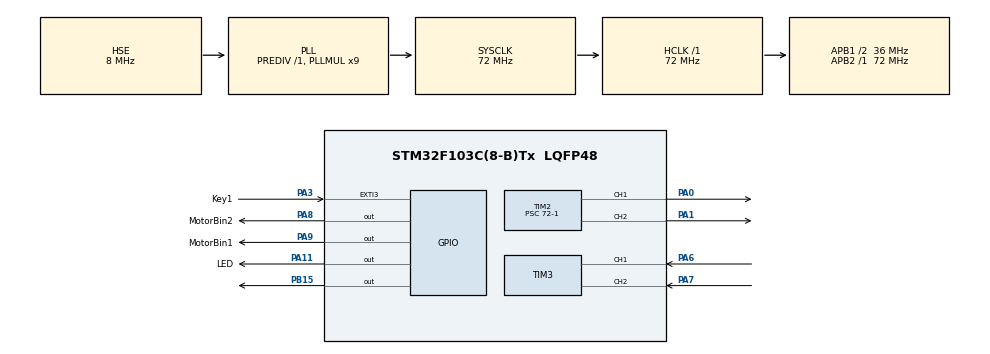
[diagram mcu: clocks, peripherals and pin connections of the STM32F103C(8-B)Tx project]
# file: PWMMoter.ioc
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Mcu.Family=STM32F1
Mcu.Name=STM32F103C(8-B)Tx
Mcu.Package=LQFP48
NVIC.EXTI3_IRQn=true\:15\:0\:true\:false\:true\:true\:true\:true
NVIC.PriorityGroup=NVIC_PRIORITYGROUP_4
NVIC.TIM4_IRQn=true\:0\:0\:false\:false\:true\:true\:true\:true
PA0-WKUP.Signal=S_TIM2_CH1_ETR
PA1.Signal=S_TIM2_CH2
PA11.GPIO_Label=LED
PA11.Signal=GPIO_Output
PA13.Mode=Serial_Wire
PA13.Signal=SYS_JTMS-SWDIO
PA14.Mode=Serial_Wire
PA14.Signal=SYS_JTCK-SWCLK
PA3.GPIO_Label=Key1
PA3.GPIO_ModeDefaultEXTI=GPIO_MODE_IT_FALLING
PA3.GPIO_PuPd=GPIO_PULLUP
PA3.Signal=GPXTI3
PA6.Signal=S_TIM3_CH1
PA7.Signal=S_TIM3_CH2
PA8.GPIO_Label=MotorBin2
PA8.PinState=GPIO_PIN_SET
PA8.Signal=GPIO_Output
PA9.GPIO_Label=MotorBin1
PA9.Signal=GPIO_Output
PB15.Signal=GPIO_Output
PD0-OSC_IN.Mode=HSE-External-Oscillator
PD0-OSC_IN.Signal=RCC_OSC_IN
PD1-OSC_OUT.Mode=HSE-External-Oscillator
PD1-OSC_OUT.Signal=RCC_OSC_OUT
ProjectManager.HeapSize=0x200
ProjectManager.StackSize=0x400
ProjectManager.TargetToolchain=STM32CubeIDE
RCC.AHBFreq_Value=72000000
RCC.APB1CLKDivider=RCC_HCLK_DIV2
RCC.APB1Freq_Value=36000000
RCC.APB1TimFreq_Value=72000000
RCC.APB2Freq_Value=72000000
RCC.APB2TimFreq_Value=72000000
RCC.HCLKFreq_Value=72000000
RCC.PLLMUL=RCC_PLL_MUL9
RCC.PLLSourceVirtual=RCC_PLLSOURCE_HSE
RCC.SYSCLKFreq_VALUE=72000000
RCC.SYSCLKSource=RCC_SYSCLKSOURCE_PLLCLK
RCC.USBFreq_Value=72000000
SH.S_TIM2_CH1_ETR.0=TIM2_CH1,PWM Generation1 CH1
SH.S_TIM2_CH2.0=TIM2_CH2,PWM Generation2 CH2
SH.S_TIM3_CH1.0=TIM3_CH1,Encoder_Interface
SH.S_TIM3_CH2.0=TIM3_CH2,Encoder_Interface
TIM2.Channel-PWM\ Generation1\ CH1=TIM_CHANNEL_1
TIM2.Channel-PWM\ Generation2\ CH2=TIM_CHANNEL_2
TIM2.Period=100-1
TIM2.Prescaler=72-1
TIM3.EncoderMode=TIM_ENCODERMODE_TI12
TIM3.IC1Filter=10
TIM3.IC1Polarity=TIM_ICPOLARITY_FALLING
TIM3.IC2Filter=10
TIM4.AutoReloadPreload=TIM_AUTORELOAD_PRELOAD_ENABLE
TIM4.Period=10000-1
TIM4.Prescaler=7200-1
VP_TIM2_VS_ClockSourceINT.Mode=Internal
VP_TIM4_VS_ClockSourceINT.Mode=Internal
board=custom

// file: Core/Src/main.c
/* USER CODE BEGIN Header */
/**
  ******************************************************************************
  * @file           : main.c
  * @brief          : Main program body
  ******************************************************************************
  * @attention
  *
  * Copyright (c) 2025 STMicroelectronics.
  * All rights reserved.
  *
  * This software is licensed under terms that can be found in the LICENSE file
  * in the root directory of this software component.
  * If no LICENSE file comes with this software, it is provided AS-IS.
  *
  ******************************************************************************
  */
/* USER CODE END Header */
#include "main.h"
#include "tim.h"
#include "gpio.h"

/* USER CODE BEGIN Includes */
#include "Motor.h"
#include "Encoder.h"
/* USER CODE END Includes */

/* USER CODE BEGIN PD */
#define GearRatio 30
#define EncoderPPR 13
/* USER CODE END PD */

/* USER CODE BEGIN PV */

volatile int32_t encoder_speed = 0;  // 全局、volatile、有意义的名字
volatile float motor_rps;
/* USER CODE END PV */

void SystemClock_Config(void);

/* USER CODE BEGIN 0 */
__weak void HAL_TIM_PeriodElapsedCallback(TIM_HandleTypeDef *htim){
	if(htim == &htim4){
		static short LastCount = 0;
		static short CurrentCount = 0;
		CurrentCount = EncoderRead();
		encoder_speed = (CurrentCount - LastCount);
		motor_rps = (float)encoder_speed / (GearRatio * EncoderPPR * 4);
		LastCount = CurrentCount;
	}
}

/* USER CODE END 0 */

int main(void)
{

  /* MCU Configuration--------------------------------------------------------*/

  /* Reset of all peripherals, Initializes the Flash interface and the Systick. */
  HAL_Init();

  /* Configure the system clock */
  SystemClock_Config();

  /* Initialize all configured peripherals */
  MX_GPIO_Init();
  MX_TIM2_Init();
  MX_TIM3_Init();
  MX_TIM4_Init();
  /* USER CODE BEGIN 2 */
  Motor_Init();
  EncoderInit();
  /* USER CODE END 2 */

  /* Infinite loop */
  /* USER CODE BEGIN WHILE */
  while (1)
  {
	  volatile float dummy = motor_rps; //用于检测motor_rps
	  HAL_Delay(100);
    /* USER CODE END WHILE */

  }
}

void SystemClock_Config(void)
{
  RCC_OscInitTypeDef RCC_OscInitStruct = {0};
  RCC_ClkInitTypeDef RCC_ClkInitStruct = {0};

  /** Initializes the RCC Oscillators according to the specified parameters
  * in the RCC_OscInitTypeDef structure.
  */
  RCC_OscInitStruct.OscillatorType = RCC_OSCILLATORTYPE_HSE;
  RCC_OscInitStruct.HSEState = RCC_HSE_ON;
  RCC_OscInitStruct.HSEPredivValue = RCC_HSE_PREDIV_DIV1;
  RCC_OscInitStruct.HSIState = RCC_HSI_ON;
  RCC_OscInitStruct.PLL.PLLState = RCC_PLL_ON;
  RCC_OscInitStruct.PLL.PLLSource = RCC_PLLSOURCE_HSE;
  RCC_OscInitStruct.PLL.PLLMUL = RCC_PLL_MUL9;
  if (HAL_RCC_OscConfig(&RCC_OscInitStruct) != HAL_OK)
  {
    Error_Handler();
  }

  /** Initializes the CPU, AHB and APB buses clocks
  */
  RCC_ClkInitStruct.ClockType = RCC_CLOCKTYPE_HCLK|RCC_CLOCKTYPE_SYSCLK
                              |RCC_CLOCKTYPE_PCLK1|RCC_CLOCKTYPE_PCLK2;
  RCC_ClkInitStruct.SYSCLKSource = RCC_SYSCLKSOURCE_PLLCLK;
  RCC_ClkInitStruct.AHBCLKDivider = RCC_SYSCLK_DIV1;
  RCC_ClkInitStruct.APB1CLKDivider = RCC_HCLK_DIV2;
  RCC_ClkInitStruct.APB2CLKDivider = RCC_HCLK_DIV1;

  if (HAL_RCC_ClockConfig(&RCC_ClkInitStruct, FLASH_LATENCY_2) != HAL_OK)
  {
    Error_Handler();
  }
}

void Error_Handler(void)
{
  __disable_irq();
  while (1)
  {
  }
}
